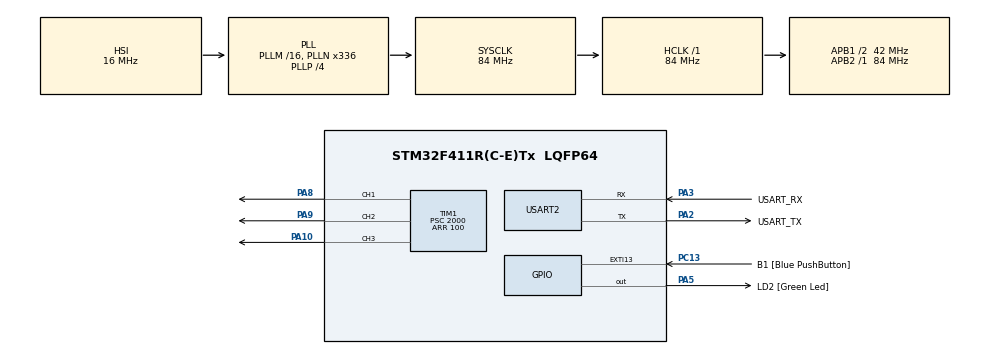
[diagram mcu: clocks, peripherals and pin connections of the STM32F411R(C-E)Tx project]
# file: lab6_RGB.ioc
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Mcu.Family=STM32F4
Mcu.Name=STM32F411R(C-E)Tx
Mcu.Package=LQFP64
NVIC.PriorityGroup=NVIC_PRIORITYGROUP_0
NVIC.TIM1_UP_TIM10_IRQn=true\:0\:0\:false\:false\:true\:true\:true\:true
PA10.Signal=S_TIM1_CH3
PA13.GPIO_Label=TMS
PA13.Mode=Serial_Wire
PA13.Signal=SYS_JTMS-SWDIO
PA14.GPIO_Label=TCK
PA14.Mode=Serial_Wire
PA14.Signal=SYS_JTCK-SWCLK
PA2.GPIO_Label=USART_TX
PA2.Mode=Asynchronous
PA2.Signal=USART2_TX
PA3.GPIO_Label=USART_RX
PA3.Mode=Asynchronous
PA3.Signal=USART2_RX
PA5.GPIO_Label=LD2 [Green Led]
PA5.Signal=GPIO_Output
PA8.Signal=S_TIM1_CH1
PA9.Signal=S_TIM1_CH2
PB3.GPIO_Label=SWO
PB3.Signal=SYS_JTDO-SWO
PC13-ANTI_TAMP.GPIO_Label=B1 [Blue PushButton]
PC13-ANTI_TAMP.GPIO_ModeDefaultEXTI=GPIO_MODE_IT_FALLING
PC13-ANTI_TAMP.Signal=GPXTI13
PC14-OSC32_IN.Mode=LSE-External-Oscillator
PC14-OSC32_IN.Signal=RCC_OSC32_IN
PC15-OSC32_OUT.Mode=LSE-External-Oscillator
PC15-OSC32_OUT.Signal=RCC_OSC32_OUT
PH0\ -\ OSC_IN.Mode=HSE-External-Clock-Source
PH0\ -\ OSC_IN.Signal=RCC_OSC_IN
PH1\ -\ OSC_OUT.Mode=HSE-External-Clock-Source
PH1\ -\ OSC_OUT.Signal=RCC_OSC_OUT
ProjectManager.HeapSize=0x200
ProjectManager.StackSize=0x400
ProjectManager.TargetToolchain=STM32CubeIDE
RCC.48MHZClocksFreq_Value=84000000
RCC.AHBFreq_Value=84000000
RCC.APB1CLKDivider=RCC_HCLK_DIV2
RCC.APB1Freq_Value=42000000
RCC.APB1TimFreq_Value=84000000
RCC.APB2Freq_Value=84000000
RCC.APB2TimFreq_Value=84000000
RCC.CortexFreq_Value=84000000
RCC.FLatency-AdvancedSettings=FLASH_LATENCY_2
RCC.HCLKFreq_Value=84000000
RCC.HSE_VALUE=8000000
RCC.HSI_VALUE=16000000
RCC.PLLN=336
RCC.PLLP=RCC_PLLP_DIV4
RCC.SYSCLKFreq_VALUE=84000000
RCC.SYSCLKSource=RCC_SYSCLKSOURCE_PLLCLK
RCC.VCOOutputFreq_Value=336000000
SH.S_TIM1_CH1.0=TIM1_CH1,PWM Generation1 CH1
SH.S_TIM1_CH2.0=TIM1_CH2,PWM Generation2 CH2
SH.S_TIM1_CH3.0=TIM1_CH3,PWM Generation3 CH3
TIM1.Channel-PWM\ Generation1\ CH1=TIM_CHANNEL_1
TIM1.Channel-PWM\ Generation2\ CH2=TIM_CHANNEL_2
TIM1.Channel-PWM\ Generation3\ CH3=TIM_CHANNEL_3
TIM1.Period=100
TIM1.Prescaler=2000
USART2.VirtualMode=VM_ASYNC
VP_TIM1_VS_ClockSourceINT.Mode=Internal
board=NUCLEO-F411RE

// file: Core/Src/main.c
/* USER CODE BEGIN Header */
/**
  ******************************************************************************
  * @file           : main.c
  * @brief          : Main program body
  ******************************************************************************
  * @attention
  *
  * Copyright (c) 2023 STMicroelectronics.
  * All rights reserved.
  *
  * This software is licensed under terms that can be found in the LICENSE file
  * in the root directory of this software component.
  * If no LICENSE file comes with this software, it is provided AS-IS.
  *
  ******************************************************************************
  */
/* USER CODE END Header */
#include "main.h"
#include "math.h"

/* USER CODE BEGIN PTD */

float rf, gf, bf;
const float offset = M_TWOPI / 3.0f;
const float half_arr = (100 + 1) / 2.0f; // Kom ihåg att sätta ARR enligt dina krav
float t = 0.0f;
float freq = 1.0f;

/* USER CODE END PTD */

TIM_HandleTypeDef htim1;

UART_HandleTypeDef huart2;

void SystemClock_Config(void);
static void MX_GPIO_Init(void);
static void MX_USART2_UART_Init(void);
static void MX_TIM1_Init(void);

/* USER CODE BEGIN 0 */
void HAL_TIM_PeriodElapsedCallback(TIM_HandleTypeDef *htim) {
    if (htim->Instance == TIM1) {

        t += 0.001;

    }
}

/* USER CODE END 0 */

int main(void)
{

  /* MCU Configuration--------------------------------------------------------*/

  /* Reset of all peripherals, Initializes the Flash interface and the Systick. */
  HAL_Init();

  /* Configure the system clock */
  SystemClock_Config();

  /* Initialize all configured peripherals */
  MX_GPIO_Init();
  MX_USART2_UART_Init();
  MX_TIM1_Init();
  /* USER CODE BEGIN 2 */

  HAL_TIM_Base_Start_IT(&htim1);
  HAL_TIM_PWM_Start(&htim1, TIM_CHANNEL_1);
  HAL_TIM_PWM_Start(&htim1, TIM_CHANNEL_2);
  HAL_TIM_PWM_Start(&htim1, TIM_CHANNEL_3);

  /* USER CODE END 2 */

// blå CCR1 =0x20
  //GRÖN CCR3 =0x13
  //röd CCR2 =0x64

  /* Infinite loop */
  /* USER CODE BEGIN WHILE */
  while (1)
  {
	  rf = sinf((M_TWOPI * t * freq) + (0 * offset));
	  gf = sinf((M_TWOPI * t * freq) + (1 * offset));
	  bf = sinf((M_TWOPI * t * freq) + (2 * offset));
	  rf = (rf + 1.0f) * half_arr;
	  gf = (gf + 1.0f) * half_arr;
	  bf = (bf + 1.0f) * half_arr;

	  rf *= 1.0f;
	  gf *= 0.32f;
	  bf *= 0.19f;

	  __HAL_TIM_SET_COMPARE(&htim1, TIM_CHANNEL_1, (uint32_t)bf);
	  __HAL_TIM_SET_COMPARE(&htim1, TIM_CHANNEL_2, (uint32_t)rf);
	  __HAL_TIM_SET_COMPARE(&htim1, TIM_CHANNEL_3, (uint32_t)gf);
	  /* USER CODE END WHILE */

  }
}

void SystemClock_Config(void)
{
  RCC_OscInitTypeDef RCC_OscInitStruct = {0};
  RCC_ClkInitTypeDef RCC_ClkInitStruct = {0};

  /** Configure the main internal regulator output voltage
  */
  __HAL_RCC_PWR_CLK_ENABLE();
  __HAL_PWR_VOLTAGESCALING_CONFIG(PWR_REGULATOR_VOLTAGE_SCALE1);

  /** Initializes the RCC Oscillators according to the specified parameters
  * in the RCC_OscInitTypeDef structure.
  */
  RCC_OscInitStruct.OscillatorType = RCC_OSCILLATORTYPE_HSI;
  RCC_OscInitStruct.HSIState = RCC_HSI_ON;
  RCC_OscInitStruct.HSICalibrationValue = RCC_HSICALIBRATION_DEFAULT;
  RCC_OscInitStruct.PLL.PLLState = RCC_PLL_ON;
  RCC_OscInitStruct.PLL.PLLSource = RCC_PLLSOURCE_HSI;
  RCC_OscInitStruct.PLL.PLLM = 16;
  RCC_OscInitStruct.PLL.PLLN = 336;
  RCC_OscInitStruct.PLL.PLLP = RCC_PLLP_DIV4;
  RCC_OscInitStruct.PLL.PLLQ = 4;
  if (HAL_RCC_OscConfig(&RCC_OscInitStruct) != HAL_OK)
  {
    Error_Handler();
  }

  /** Initializes the CPU, AHB and APB buses clocks
  */
  RCC_ClkInitStruct.ClockType = RCC_CLOCKTYPE_HCLK|RCC_CLOCKTYPE_SYSCLK
                              |RCC_CLOCKTYPE_PCLK1|RCC_CLOCKTYPE_PCLK2;
  RCC_ClkInitStruct.SYSCLKSource = RCC_SYSCLKSOURCE_PLLCLK;
  RCC_ClkInitStruct.AHBCLKDivider = RCC_SYSCLK_DIV1;
  RCC_ClkInitStruct.APB1CLKDivider = RCC_HCLK_DIV2;
  RCC_ClkInitStruct.APB2CLKDivider = RCC_HCLK_DIV1;

  if (HAL_RCC_ClockConfig(&RCC_ClkInitStruct, FLASH_LATENCY_2) != HAL_OK)
  {
    Error_Handler();
  }
}

static void MX_TIM1_Init(void)
{

  TIM_ClockConfigTypeDef sClockSourceConfig = {0};
  TIM_MasterConfigTypeDef sMasterConfig = {0};
  TIM_OC_InitTypeDef sConfigOC = {0};
  TIM_BreakDeadTimeConfigTypeDef sBreakDeadTimeConfig = {0};

  htim1.Instance = TIM1;
  htim1.Init.Prescaler = 2000;
  htim1.Init.CounterMode = TIM_COUNTERMODE_UP;
  htim1.Init.Period = 100;
  htim1.Init.ClockDivision = TIM_CLOCKDIVISION_DIV1;
  htim1.Init.RepetitionCounter = 0;
  htim1.Init.AutoReloadPreload = TIM_AUTORELOAD_PRELOAD_DISABLE;
  if (HAL_TIM_Base_Init(&htim1) != HAL_OK)
  {
    Error_Handler();
  }
  sClockSourceConfig.ClockSource = TIM_CLOCKSOURCE_INTERNAL;
  if (HAL_TIM_ConfigClockSource(&htim1, &sClockSourceConfig) != HAL_OK)
  {
    Error_Handler();
  }
  if (HAL_TIM_PWM_Init(&htim1) != HAL_OK)
  {
    Error_Handler();
  }
  sMasterConfig.MasterOutputTrigger = TIM_TRGO_RESET;
  sMasterConfig.MasterSlaveMode = TIM_MASTERSLAVEMODE_DISABLE;
  if (HAL_TIMEx_MasterConfigSynchronization(&htim1, &sMasterConfig) != HAL_OK)
  {
    Error_Handler();
  }
  sConfigOC.OCMode = TIM_OCMODE_PWM1;
  sConfigOC.Pulse = 0;
  sConfigOC.OCPolarity = TIM_OCPOLARITY_HIGH;
  sConfigOC.OCNPolarity = TIM_OCNPOLARITY_HIGH;
  sConfigOC.OCFastMode = TIM_OCFAST_DISABLE;
  sConfigOC.OCIdleState = TIM_OCIDLESTATE_RESET;
  sConfigOC.OCNIdleState = TIM_OCNIDLESTATE_RESET;
  if (HAL_TIM_PWM_ConfigChannel(&htim1, &sConfigOC, TIM_CHANNEL_1) != HAL_OK)
  {
    Error_Handler();
  }
  if (HAL_TIM_PWM_ConfigChannel(&htim1, &sConfigOC, TIM_CHANNEL_2) != HAL_OK)
  {
    Error_Handler();
  }
  if (HAL_TIM_PWM_ConfigChannel(&htim1, &sConfigOC, TIM_CHANNEL_3) != HAL_OK)
  {
    Error_Handler();
  }
  sBreakDeadTimeConfig.OffStateRunMode = TIM_OSSR_DISABLE;
  sBreakDeadTimeConfig.OffStateIDLEMode = TIM_OSSI_DISABLE;
  sBreakDeadTimeConfig.LockLevel = TIM_LOCKLEVEL_OFF;
  sBreakDeadTimeConfig.DeadTime = 0;
  sBreakDeadTimeConfig.BreakState = TIM_BREAK_DISABLE;
  sBreakDeadTimeConfig.BreakPolarity = TIM_BREAKPOLARITY_HIGH;
  sBreakDeadTimeConfig.AutomaticOutput = TIM_AUTOMATICOUTPUT_DISABLE;
  if (HAL_TIMEx_ConfigBreakDeadTime(&htim1, &sBreakDeadTimeConfig) != HAL_OK)
  {
    Error_Handler();
  }
  HAL_TIM_MspPostInit(&htim1);

}

static void MX_USART2_UART_Init(void)
{

  huart2.Instance = USART2;
  huart2.Init.BaudRate = 115200;
  huart2.Init.WordLength = UART_WORDLENGTH_8B;
  huart2.Init.StopBits = UART_STOPBITS_1;
  huart2.Init.Parity = UART_PARITY_NONE;
  huart2.Init.Mode = UART_MODE_TX_RX;
  huart2.Init.HwFlowCtl = UART_HWCONTROL_NONE;
  huart2.Init.OverSampling = UART_OVERSAMPLING_16;
  if (HAL_UART_Init(&huart2) != HAL_OK)
  {
    Error_Handler();
  }

}

static void MX_GPIO_Init(void)
{
  GPIO_InitTypeDef GPIO_InitStruct = {0};

  /* GPIO Ports Clock Enable */
  __HAL_RCC_GPIOC_CLK_ENABLE();
  __HAL_RCC_GPIOH_CLK_ENABLE();
  __HAL_RCC_GPIOA_CLK_ENABLE();
  __HAL_RCC_GPIOB_CLK_ENABLE();

  /*Configure GPIO pin Output Level */
  HAL_GPIO_WritePin(LD2_GPIO_Port, LD2_Pin, GPIO_PIN_RESET);

  /*Configure GPIO pin : B1_Pin */
  GPIO_InitStruct.Pin = B1_Pin;
  GPIO_InitStruct.Mode = GPIO_MODE_IT_FALLING;
  GPIO_InitStruct.Pull = GPIO_NOPULL;
  HAL_GPIO_Init(B1_GPIO_Port, &GPIO_InitStruct);

  /*Configure GPIO pin : LD2_Pin */
  GPIO_InitStruct.Pin = LD2_Pin;
  GPIO_InitStruct.Mode = GPIO_MODE_OUTPUT_PP;
  GPIO_InitStruct.Pull = GPIO_NOPULL;
  GPIO_InitStruct.Speed = GPIO_SPEED_FREQ_LOW;
  HAL_GPIO_Init(LD2_GPIO_Port, &GPIO_InitStruct);

}

void Error_Handler(void)
{
  __disable_irq();
  while (1)
  {
  }
}
